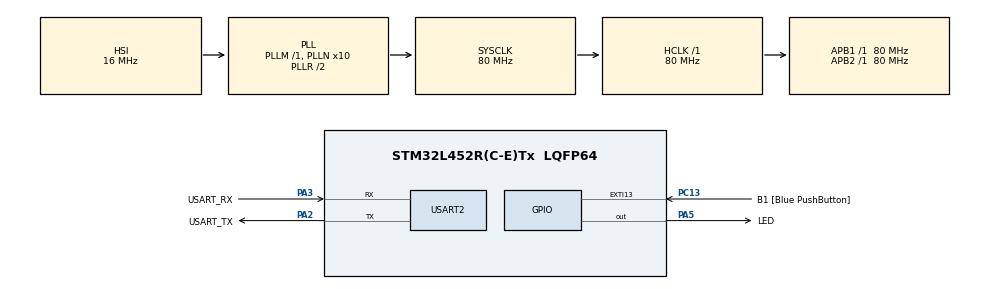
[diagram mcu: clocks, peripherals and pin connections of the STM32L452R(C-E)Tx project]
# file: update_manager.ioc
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Mcu.Family=STM32L4
Mcu.Name=STM32L452R(C-E)Tx
Mcu.Package=LQFP64
NVIC.PriorityGroup=NVIC_PRIORITYGROUP_4
NVIC.USART2_IRQn=true\:0\:0\:false\:false\:true\:true\:true\:true
PA13\ (JTMS/SWDIO).GPIO_Label=TMS
PA13\ (JTMS/SWDIO).Mode=Serial_Wire
PA13\ (JTMS/SWDIO).Signal=SYS_JTMS-SWDIO
PA14\ (JTCK/SWCLK).GPIO_Label=TCK
PA14\ (JTCK/SWCLK).Mode=Serial_Wire
PA14\ (JTCK/SWCLK).Signal=SYS_JTCK-SWCLK
PA2.GPIO_Label=USART_TX
PA2.GPIO_Mode=GPIO_MODE_AF_PP
PA2.GPIO_PuPd=GPIO_NOPULL
PA2.GPIO_Speed=GPIO_SPEED_FREQ_VERY_HIGH
PA2.Mode=Asynchronous
PA2.Signal=USART2_TX
PA3.GPIO_Label=USART_RX
PA3.GPIO_Mode=GPIO_MODE_AF_PP
PA3.GPIO_PuPd=GPIO_NOPULL
PA3.GPIO_Speed=GPIO_SPEED_FREQ_VERY_HIGH
PA3.Mode=Asynchronous
PA3.Signal=USART2_RX
PA5.GPIO_Label=LED
PA5.Signal=GPIO_Output
PB3\ (JTDO/TRACESWO).GPIO_Label=SWO
PB3\ (JTDO/TRACESWO).Signal=SYS_JTDO-SWO
PC13.GPIO_Label=B1 [Blue PushButton]
PC13.GPIO_ModeDefaultEXTI=GPIO_MODE_IT_FALLING
PC13.GPIO_PuPd=GPIO_NOPULL
PC13.Signal=GPXTI13
PC14-OSC32_IN\ (PC14).Mode=LSE-External-Oscillator
PC14-OSC32_IN\ (PC14).Signal=RCC_OSC32_IN
PC15-OSC32_OUT\ (PC15).Mode=LSE-External-Oscillator
PC15-OSC32_OUT\ (PC15).Signal=RCC_OSC32_OUT
PH0-OSC_IN\ (PH0).Signal=RCC_OSC_IN
PH1-OSC_OUT\ (PH1).Signal=RCC_OSC_OUT
ProjectManager.HeapSize=0x200
ProjectManager.StackSize=0x400
ProjectManager.TargetToolchain=STM32CubeIDE
RCC.ADCFreq_Value=64000000
RCC.AHBFreq_Value=80000000
RCC.APB1Freq_Value=80000000
RCC.APB1TimFreq_Value=80000000
RCC.APB2Freq_Value=80000000
RCC.APB2TimFreq_Value=80000000
RCC.CortexFreq_Value=80000000
RCC.HCLKFreq_Value=80000000
RCC.HSE_VALUE=8000000
RCC.HSI48_VALUE=48000000
RCC.HSI_VALUE=16000000
RCC.MSI_VALUE=4000000
RCC.PLLN=10
RCC.PLLSourceVirtual=RCC_PLLSOURCE_HSI
RCC.PREFETCH_ENABLE=1
RCC.SYSCLKFreq_VALUE=80000000
RCC.SYSCLKSource=RCC_SYSCLKSOURCE_PLLCLK
RCC.USBFreq_Value=64000000
RCC.VCOOutputFreq_Value=160000000
USART2.VirtualMode-Asynchronous=VM_ASYNC
board=NUCLEO-L452RE

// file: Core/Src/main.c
/* USER CODE BEGIN Header */
/**
  ******************************************************************************
  * @file           : main.c
  * @brief          : Main program body
  ******************************************************************************
  * @attention
  *
  * Copyright (c) 2023 STMicroelectronics.
  * All rights reserved.
  *
  * This software is licensed under terms that can be found in the LICENSE file
  * in the root directory of this software component.
  * If no LICENSE file comes with this software, it is provided AS-IS.
  *
  ******************************************************************************
  */
/* USER CODE END Header */
#include "main.h"

/* USER CODE BEGIN PD */

#define DATA_CHUNK_SIZE	64
#define BOOT_POINTER_ADRESS	(0x08060000U)
#define PAGE_ZERO_ADRESS (0x08000000U)
// #define update_adress 0x08010000U

#define RECEIVE_ADRESS_CMD		(0xFFU) //as a page number
#define RECEIVE_SIZE_n_ERASE 	(0xFAU) //size as amount of pages
#define RECEIVE_DATA_CMD		(0xAFU)
#define FINISH_UPDATE_CMD		(0xAAU)

/* USER CODE END PD */

UART_HandleTypeDef huart2;

void SystemClock_Config(void);
static void MX_GPIO_Init(void);
static void MX_USART2_UART_Init(void);

/* USER CODE BEGIN 0 */
uint8_t run = 1;

uint8_t cmd_buffer[] = {0x00};
uint8_t adress_buffer[1];
uint8_t size_buffer[1];
uint8_t data_buffer[DATA_CHUNK_SIZE];

uint32_t update_adress = (0x00U);
uint32_t write_pointer_adress_offset = (0x00U);

void blink(uint8_t count){
	for(int i = 0; i < count; i++){
		HAL_GPIO_WritePin(LED_GPIO_Port, LED_Pin, 1);
		HAL_Delay(500);
		HAL_GPIO_WritePin(LED_GPIO_Port, LED_Pin, 0);
		HAL_Delay(500);
	}
}

void EraseFlash(uint32_t pageNumber, uint8_t sizePages){
	FLASH_EraseInitTypeDef FLASH_EraseInitStruct;

	FLASH_EraseInitStruct.TypeErase = FLASH_TYPEERASE_PAGES;
	FLASH_EraseInitStruct.Page = pageNumber;
	FLASH_EraseInitStruct.NbPages = sizePages;
	FLASH_EraseInitStruct.Banks = FLASH_BANK_1;

//	if (adress_buffer[0] <= )
//		FLASH_EraseInitStruct.Banks = bank;

	uint32_t FlashEraseFault = 0;

	HAL_FLASH_Unlock();
	HAL_FLASHEx_Erase(&FLASH_EraseInitStruct,&FlashEraseFault);
	HAL_FLASH_Lock();
}

void FlashWriteChunk64(uint32_t* adress, uint8_t* pData){
	uint64_t doubleword = 0;
	HAL_StatusTypeDef status;

	for(uint8_t i = 0; i < 64; i+=8){
		doubleword = ((uint64_t)(pData[i+7]) << 56)
                 | ((uint64_t)(pData[i+6]) << 48)
                 | ((uint64_t)(pData[i+5]) << 40)
                 | ((uint64_t)(pData[i+4]) << 32)
                 | ((uint64_t)(pData[i+3]) << 24)
                 | ((uint64_t)(pData[i+2]) << 16)
                 | ((uint64_t)(pData[i+1]) << 8)
                 | ((uint64_t)(pData[i]));

		HAL_FLASH_Unlock();
		status = HAL_FLASH_Program(FLASH_TYPEPROGRAM_DOUBLEWORD, update_adress + write_pointer_adress_offset, doubleword);
		HAL_FLASH_Lock();
		write_pointer_adress_offset += 0x08;
	}
}

// void HAL_UART_RxCpltCallback(UART_HandleTypeDef *huart){}

/* USER CODE END 0 */

int main(void)
{

  /* MCU Configuration--------------------------------------------------------*/

  /* Reset of all peripherals, Initializes the Flash interface and the Systick. */
  HAL_Init();

  /* Configure the system clock */
  SystemClock_Config();

  /* Initialize all configured peripherals */
  MX_GPIO_Init();
  MX_USART2_UART_Init();
  /* USER CODE BEGIN 2 */

  //HAL_UART_Transmit(&huart2, &ack_byte, 1, 1);
  //blink(3);

  //HAL_Delay(1000);
  blink(2);

  /* USER CODE END 2 */

  /* Infinite loop */
  /* USER CODE BEGIN WHILE */
  while (run)
  {
	//blink(1);
	HAL_UART_Receive(&huart2, cmd_buffer, 1, 1000000);

	switch (cmd_buffer[0]){

		case RECEIVE_ADRESS_CMD:
			HAL_UART_Receive(&huart2, adress_buffer, 1, 10000);
			update_adress = PAGE_ZERO_ADRESS + (adress_buffer[0] * 0x800);
			break;

		case RECEIVE_SIZE_n_ERASE:
			HAL_UART_Receive(&huart2, size_buffer, 1, 1000000);
			EraseFlash(adress_buffer[0], size_buffer[0]);

			break;

		case RECEIVE_DATA_CMD:

			HAL_UART_Receive(&huart2, data_buffer, DATA_CHUNK_SIZE, 10000000);

//			HAL_StatusTypeDef status;
//			HAL_FLASH_Unlock();
//			status = HAL_FLASH_Program(FLASH_TYPEPROGRAM_DOUBLEWORD, update_adress + write_pointer_adress_offset, *data_buffer);
//			HAL_FLASH_Lock();
//			write_pointer_adress_offset += 0x40;

			FlashWriteChunk64(&update_adress, data_buffer);

			HAL_UART_Transmit(&huart2, data_buffer, DATA_CHUNK_SIZE, 100);

			break;

		case FINISH_UPDATE_CMD:
			HAL_StatusTypeDef status;

			EraseFlash(0xC0, 1);
			HAL_FLASH_Unlock();
			status = HAL_FLASH_Program(FLASH_TYPEPROGRAM_DOUBLEWORD, BOOT_POINTER_ADRESS, (uint64_t)update_adress);
			//status = HAL_FLASH_Program(FLASH_TYPEPROGRAM_DOUBLEWORD, BOOT_POINTER_ADRESS, (uint64_t) 0x08008000);
			HAL_FLASH_Lock();

			run = 0;

			break;

		default:
			break;
	}

    /* USER CODE END WHILE */

    /* USER CODE BEGIN 3 */
  }

  blink(5);
  NVIC_SystemReset();
  /* USER CODE END 3 */
}

void SystemClock_Config(void)
{
  RCC_OscInitTypeDef RCC_OscInitStruct = {0};
  RCC_ClkInitTypeDef RCC_ClkInitStruct = {0};

  /** Configure the main internal regulator output voltage
  */
  if (HAL_PWREx_ControlVoltageScaling(PWR_REGULATOR_VOLTAGE_SCALE1) != HAL_OK)
  {
    Error_Handler();
  }

  /** Initializes the RCC Oscillators according to the specified parameters
  * in the RCC_OscInitTypeDef structure.
  */
  RCC_OscInitStruct.OscillatorType = RCC_OSCILLATORTYPE_HSI;
  RCC_OscInitStruct.HSIState = RCC_HSI_ON;
  RCC_OscInitStruct.HSICalibrationValue = RCC_HSICALIBRATION_DEFAULT;
  RCC_OscInitStruct.PLL.PLLState = RCC_PLL_ON;
  RCC_OscInitStruct.PLL.PLLSource = RCC_PLLSOURCE_HSI;
  RCC_OscInitStruct.PLL.PLLM = 1;
  RCC_OscInitStruct.PLL.PLLN = 10;
  RCC_OscInitStruct.PLL.PLLP = RCC_PLLP_DIV7;
  RCC_OscInitStruct.PLL.PLLQ = RCC_PLLQ_DIV2;
  RCC_OscInitStruct.PLL.PLLR = RCC_PLLR_DIV2;
  if (HAL_RCC_OscConfig(&RCC_OscInitStruct) != HAL_OK)
  {
    Error_Handler();
  }

  /** Initializes the CPU, AHB and APB buses clocks
  */
  RCC_ClkInitStruct.ClockType = RCC_CLOCKTYPE_HCLK|RCC_CLOCKTYPE_SYSCLK
                              |RCC_CLOCKTYPE_PCLK1|RCC_CLOCKTYPE_PCLK2;
  RCC_ClkInitStruct.SYSCLKSource = RCC_SYSCLKSOURCE_PLLCLK;
  RCC_ClkInitStruct.AHBCLKDivider = RCC_SYSCLK_DIV1;
  RCC_ClkInitStruct.APB1CLKDivider = RCC_HCLK_DIV1;
  RCC_ClkInitStruct.APB2CLKDivider = RCC_HCLK_DIV1;

  if (HAL_RCC_ClockConfig(&RCC_ClkInitStruct, FLASH_LATENCY_4) != HAL_OK)
  {
    Error_Handler();
  }
}

static void MX_USART2_UART_Init(void)
{

  huart2.Instance = USART2;
  huart2.Init.BaudRate = 115200;
  huart2.Init.WordLength = UART_WORDLENGTH_8B;
  huart2.Init.StopBits = UART_STOPBITS_1;
  huart2.Init.Parity = UART_PARITY_NONE;
  huart2.Init.Mode = UART_MODE_TX_RX;
  huart2.Init.HwFlowCtl = UART_HWCONTROL_NONE;
  huart2.Init.OverSampling = UART_OVERSAMPLING_16;
  huart2.Init.OneBitSampling = UART_ONE_BIT_SAMPLE_DISABLE;
  huart2.AdvancedInit.AdvFeatureInit = UART_ADVFEATURE_NO_INIT;
  if (HAL_UART_Init(&huart2) != HAL_OK)
  {
    Error_Handler();
  }

}

static void MX_GPIO_Init(void)
{
  GPIO_InitTypeDef GPIO_InitStruct = {0};

  /* GPIO Ports Clock Enable */
  __HAL_RCC_GPIOC_CLK_ENABLE();
  __HAL_RCC_GPIOH_CLK_ENABLE();
  __HAL_RCC_GPIOA_CLK_ENABLE();
  __HAL_RCC_GPIOB_CLK_ENABLE();

  /*Configure GPIO pin Output Level */
  HAL_GPIO_WritePin(LED_GPIO_Port, LED_Pin, GPIO_PIN_RESET);

  /*Configure GPIO pin : B1_Pin */
  GPIO_InitStruct.Pin = B1_Pin;
  GPIO_InitStruct.Mode = GPIO_MODE_IT_FALLING;
  GPIO_InitStruct.Pull = GPIO_NOPULL;
  HAL_GPIO_Init(B1_GPIO_Port, &GPIO_InitStruct);

  /*Configure GPIO pin : LED_Pin */
  GPIO_InitStruct.Pin = LED_Pin;
  GPIO_InitStruct.Mode = GPIO_MODE_OUTPUT_PP;
  GPIO_InitStruct.Pull = GPIO_NOPULL;
  GPIO_InitStruct.Speed = GPIO_SPEED_FREQ_LOW;
  HAL_GPIO_Init(LED_GPIO_Port, &GPIO_InitStruct);

}

void Error_Handler(void)
{
  __disable_irq();
  while (1)
  {
  }
}
